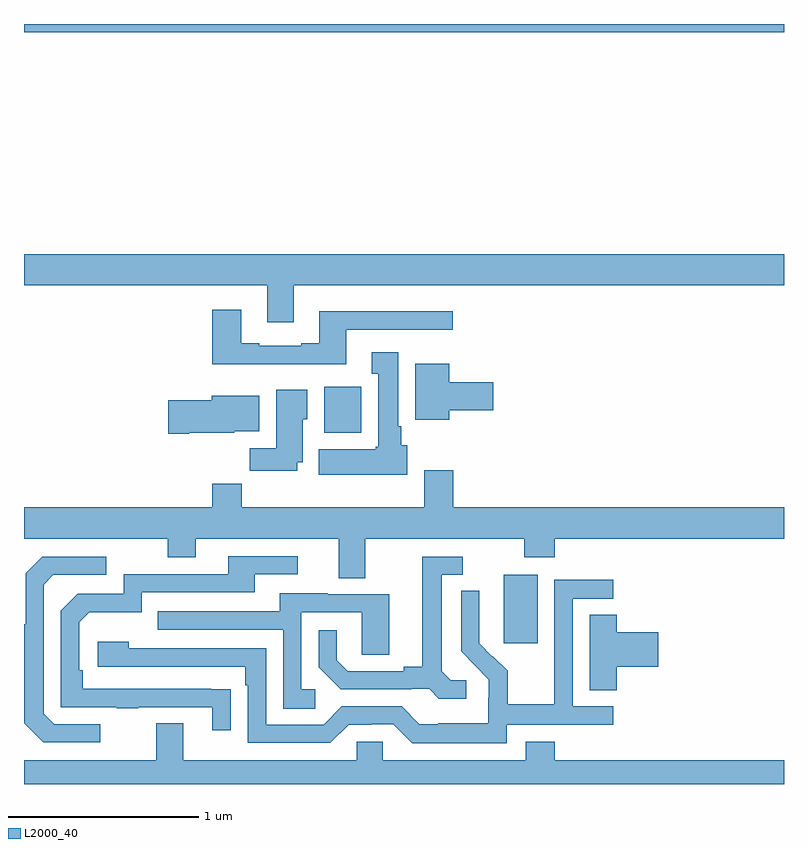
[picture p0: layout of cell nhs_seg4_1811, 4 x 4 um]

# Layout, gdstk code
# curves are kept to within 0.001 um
import gdstk
lib = gdstk.Library(unit=1e-6, precision=1e-09)
def R(c, l, rs):  # rectangles x0, y0, x1, y1
    for r in rs: c.add(gdstk.rectangle(r[:2], r[2:], *l))
def P(c, l, *ps):  # polygons
    for p in ps: c.add(gdstk.Polygon(p, *l))
L2000_40 = (2000, 40)

nhs_seg4_1811 = lib.new_cell('nhs_seg4_1811')
R(nhs_seg4_1811, L2000_40, [(207.524,757.641,207.703,758.002), (206.579,758.75,206.776,758.992), (205,760.856,209,760.9)])
P(nhs_seg4_1811, L2000_40, [(206.419,759.524),(209,759.524),(209,759.688),(205,759.688),(205,759.524),(206.279,759.524),(206.279,759.33),(206.419,759.33)],
  [(206.695,759.291),(207.256,759.291),(207.256,759.388),(206.555,759.388),(206.555,759.22),(206.459,759.22),(206.459,759.207),(206.239,759.207),(206.239,759.22),(206.143,759.22),(206.143,759.397),(205.991,759.397),(205.991,759.11),(206.695,759.11)],
  [(207.016,758.682),(206.986,758.682),(206.986,758.782),(206.971,758.782),(206.971,759.172),(206.831,759.172),(206.831,759.059),(206.864,759.059),(206.864,758.676),(206.851,758.676),(206.851,758.662),(206.552,758.662),(206.552,758.528),(207.016,758.528)],
  [(207.238,758.867),(207.469,758.867),(207.469,759.014),(207.238,759.014),(207.238,759.112),(207.059,759.112),(207.059,758.816),(207.238,758.816)],
  [(206.437,758.594),(206.467,758.594),(206.467,758.82),(206.491,758.82),(206.491,758.974),(206.327,758.974),(206.327,758.668),(206.188,758.668),(206.188,758.55),(206.437,758.55)],
  [(205.87,758.75),(206.106,758.75),(206.106,758.756),(206.239,758.756),(206.239,758.944),(205.988,758.944),(205.988,758.921),(205.758,758.921),(205.758,758.743),(205.87,758.743)],
  [(206.797,758.192),(207.634,758.192),(207.634,758.093),(207.794,758.093),(207.794,758.192),(209,758.192),(209,758.356),(207.26,758.356),(207.26,758.551),(207.107,758.551),(207.107,758.356),(206.147,758.356),(206.147,758.48),(205.991,758.48),(205.991,758.356),(205,758.356),(205,758.192),(205.756,758.192),(205.756,758.093),(205.903,758.093),(205.903,758.192),(206.657,758.192),(206.657,757.984),(206.797,757.984)],
  [(206.087,757.4),(205.31,757.401),(205.31,757.498),(205.29,757.498),(205.29,757.752),(205.343,757.805),(205.62,757.805),(205.62,757.908),(206.215,757.908),(206.215,758.004),(206.44,758.004),(206.44,758.1),(206.075,758.1),(206.075,758.004),(205.524,758.004),(205.524,757.902),(205.284,757.902),(205.194,757.812),(205.194,757.305),(205.489,757.305),(205.489,757.3),(205.601,757.3),(205.601,757.305),(205.991,757.305),(205.991,757.182),(206.087,757.182)],
  [(207.328,757.446),(207.246,757.446),(207.199,757.493),(207.199,758.001),(207.31,758.001),(207.31,758.097),(207.095,758.097),(207.095,757.517),(206.999,757.517),(206.999,757.494),(206.704,757.494),(206.647,757.551),(206.647,757.708),(206.55,757.708),(206.55,757.514),(206.666,757.398),(207.038,757.398),(207.038,757.401),(207.132,757.401),(207.184,757.349),(207.328,757.349)],
  [(205.402,757.215),(205.158,757.215),(205.104,757.269),(205.104,757.95),(205.155,758.001),(205.432,758.001),(205.432,758.097),(205.095,758.097),(205.008,758.01),(205.008,757.741),(205,757.741),(205,757.221),(205.101,757.119),(205.402,757.119)],
  [(207.54,757.212),(208.102,757.212),(208.102,757.308),(207.888,757.308),(207.888,757.875),(208.102,757.875),(208.102,757.974),(207.792,757.974),(207.792,757.544),(207.79,757.544),(207.79,757.321),(207.545,757.321),(207.545,757.495),(207.468,757.572),(207.465,757.569),(207.395,757.64),(207.396,757.916),(207.3,757.916),(207.3,757.598),(207.446,757.45),(207.446,757.353),(207.444,757.353),(207.444,757.219),(207.181,757.219),(207.181,757.215),(207.081,757.215),(206.988,757.308),(206.673,757.308),(206.577,757.212),(206.274,757.212),(206.274,757.614),(205.55,757.614),(205.55,757.648),(205.389,757.648),(205.389,757.518),(206.165,757.518),(206.165,757.421),(206.178,757.421),(206.178,757.116),(206.613,757.116),(206.709,757.212),(206.828,757.212),(206.828,757.215),(206.943,757.215),(207.043,757.115),(207.54,757.115)],
  [(206.533,757.398),(206.46,757.398),(206.46,757.803),(206.778,757.803),(206.778,757.579),(206.923,757.579),(206.923,757.899),(206.599,757.899),(206.599,757.903),(206.345,757.903),(206.345,757.809),(205.705,757.809),(205.705,757.713),(206.364,757.713),(206.364,757.297),(206.533,757.297)],
  [(208.121,757.517),(208.339,757.517),(208.339,757.7),(208.121,757.7),(208.121,757.79),(207.977,757.79),(207.977,757.393),(208.121,757.393)],
  [(209,757.024),(207.794,757.024),(207.794,757.123),(207.641,757.123),(207.641,757.024),(206.889,757.024),(206.889,757.122),(206.751,757.122),(206.751,757.024),(205.837,757.024),(205.837,757.219),(205.697,757.219),(205.697,757.024),(205,757.024),(205,756.9),(209,756.9)])

lib.write_gds('nhs_seg4_1811.gds')
